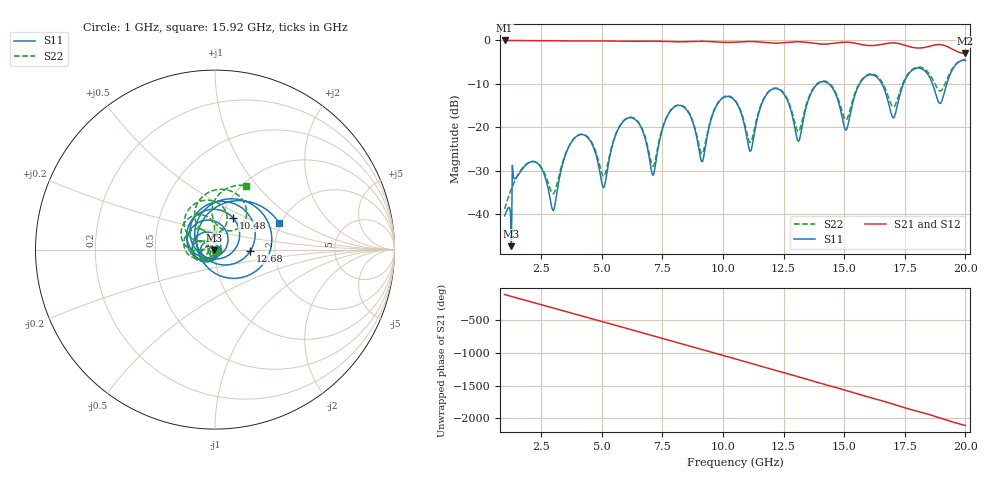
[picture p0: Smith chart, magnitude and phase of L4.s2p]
! Touchstone file from project TestMultiLine
! Exported from HFSS 14.0.0
! Variables:
!  gap = 29.87mm
!  hair = 35mm
!  hsub = 0.762mm
!  l = 57.87mm
!  lair = 62mm
!  lmic = 14mm
!  w = 25mm
!  wair = 40mm
!  wmic = 2.1mm
!  wp = 1mm
!Data is not renormalized
# GHZ S MA
! Modal data exported
! Port[1] = 1:1
! Port[2] = 2:1
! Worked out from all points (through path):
!   476 points, 1 GHz to 20 GHz, reference per port
!   highest |S21| = -0.06 dB at 1 GHz (marker M1); lowest = -3.1 dB at 20 GHz (marker M2)
!   group delay of S21, straight-line fit = 293 ps
!   lowest |S11| = -47.4 dB at 1.28 GHz (marker M3), VSWR 1.01
!   |S11| at or under -10 dB: start of sweep to 13.92 GHz; 14.36 GHz to 15.64 GHz (1.284 GHz wide, 8.56 % of centre); 16.55 GHz to 17.45 GHz (895.8 MHz wide, 5.27 % of centre)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
!   |S22| runs from -38.8 to -4.4 dB; largest |S21 - S12| = 9.2e-09
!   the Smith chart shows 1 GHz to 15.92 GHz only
!   S11 on the Smith chart (normalised r, x): 1 GHz: 1.02, -0.00; 10.48 GHz: 1.14, +0.42; 12.68 GHz: 1.49, -0.02; 15.92 GHz: 1.96, +0.68
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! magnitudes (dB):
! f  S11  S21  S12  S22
! 1 GHz  -40.4  -0.1  -0.1  -38.8
! 1.28 GHz  -47.4  -0.1  -0.1  -34.2
! 2.2 GHz  -27.9  -0.1  -0.1  -27.9
! 3 GHz  -39.2  -0.1  -0.1  -35.4
! 4.2 GHz  -21.7  -0.2  -0.2  -21.6
! 5.08 GHz  -34.0  -0.2  -0.2  -31.4
! 6 GHz  -18.2  -0.3  -0.3  -18.1
! 7.12 GHz  -31.1  -0.2  -0.2  -29.1
! 7.36 GHz  -23.9  -0.2  -0.2  -23.4
! 8.28 GHz  -15.1  -0.4  -0.4  -15.0
! 9.16 GHz  -27.9  -0.3  -0.3  -26.1
! 10.48 GHz  -13.8  -0.5  -0.5  -13.7
! 10.52 GHz  -14.1  -0.5  -0.5  -14.0
! 11.12 GHz  -25.6  -0.3  -0.3  -23.6
! 11.84 GHz  -12.2  -0.6  -0.6  -12.1
! 12.68 GHz  -14.1  -0.5  -0.5  -13.8
! 13.12 GHz  -23.3  -0.4  -0.4  -21.1
! 13.68 GHz  -11.7  -0.7  -0.7  -11.5
! 15.08 GHz  -20.7  -0.5  -0.5  -18.4
! 15.92 GHz  -8.2  -1.2  -1.2  -8.1
! 16.84 GHz  -14.7  -0.7  -0.7  -13.3
! 20 GHz  -4.7  -3.1  -3.1  -4.4
